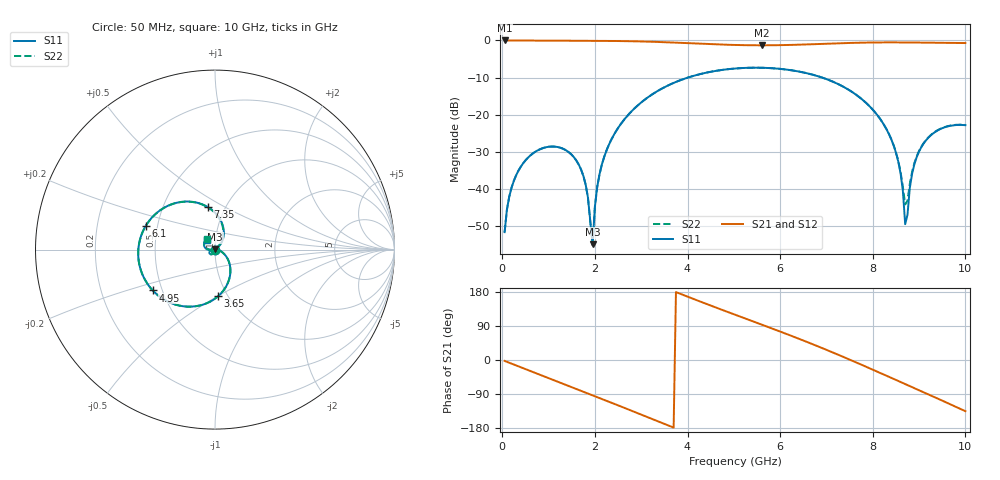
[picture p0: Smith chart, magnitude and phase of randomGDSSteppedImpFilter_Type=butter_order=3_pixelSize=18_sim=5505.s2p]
! freq	dB(S11)	phase(S11)	dB(S12)	phase(S12)
!  dB(S21)	phase(S21)	dB(S22)	phase(S22)
!S-par simulation data
#  GHz  S  DB  R 50
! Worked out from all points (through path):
!   200 points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, 50 MHz to 10 GHz, reference 50 ohm
!   highest |S21| = -0.01 dB at 50 MHz (marker M1); lowest = -1.3 dB at 5.6 GHz (marker M2)
!   group delay of S21, straight-line fit = 135 ps
!   lowest |S11| = -54.9 dB at 1.95 GHz (marker M3), VSWR 1.00, Z = 50.1 + j0.142 ohm
!   |S11| at or under -10 dB: start of sweep to 4.007 GHz; 6.908 GHz to end of sweep
!   |S22| runs from -55.4 to -7.3 dB; largest |S21 - S12| = 0
!   S11 on the Smith chart (normalised r, x): 50 MHz: 1.00, -0.01; 3.65 GHz: 0.90, -0.50; 4.95 GHz: 0.44, -0.24; 6.1 GHz: 0.43, +0.14; 7.35 GHz: 0.83, +0.42; 10 GHz: 0.91, +0.10
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0.05  -51.61 -85.8  -0.01 -2.4  -0.01 -2.4  -51.61 -85.8
0.25  -37.77 -100.8  -0.02 -12.0  -0.02 -12.0  -37.77 -100.8
0.65  -30.52 -121.6  -0.04 -30.9  -0.04 -30.9  -30.52 -121.6
1.3  -29.10 -153.7  -0.08 -61.8  -0.08 -61.8  -29.10 -153.6
1.75  -36.45 -178.4  -0.09 -83.3  -0.09 -83.3  -36.45 -178.0
1.95  -54.93 52.1  -0.10 -92.9  -0.10 -92.9  -55.39 49.9
2.05  -39.42 -1.1  -0.11 -97.7  -0.11 -97.7  -39.43 -1.8
2.3  -28.14 -18.4  -0.13 -109.9  -0.13 -109.9  -28.14 -18.6
3.4  -13.28 -73.9  -0.42 -163.8  -0.42 -163.8  -13.28 -73.9
3.65  -11.71 -86.0  -0.54 -176.0  -0.54 -176.0  -11.71 -86.1
4.95  -7.64 -146.8  -1.20 123.0  -1.20 123.0  -7.64 -146.7
5.05  -7.54 -151.3  -1.23 118.4  -1.23 118.4  -7.54 -151.3
5.6  -7.35 -176.1  -1.31 93.4  -1.31 93.4  -7.35 -176.0
6.1  -7.79 161.1  -1.25 70.4  -1.25 70.4  -7.79 161.2
6.7  -9.21 132.5  -1.02 41.8  -1.02 41.8  -9.21 132.7
7.35  -12.37 99.7  -0.73 8.9  -0.73 8.9  -12.37 100.1
8.35  -25.23 47.3  -0.53 -44.4  -0.53 -44.4  -25.20 50.6
8.6  -35.75 38.8  -0.53 -58.0  -0.53 -58.0  -35.38 50.5
8.7  -49.47 69.1  -0.54 -63.5  -0.54 -63.5  -44.16 93.2
8.85  -35.82 -170.3  -0.55 -71.6  -0.55 -71.6  -35.31 177.5
9.05  -28.70 -177.2  -0.58 -82.5  -0.58 -82.5  -28.57 176.8
10  -22.81 129.3  -0.70 -135.1  -0.70 -135.1  -22.73 126.0
